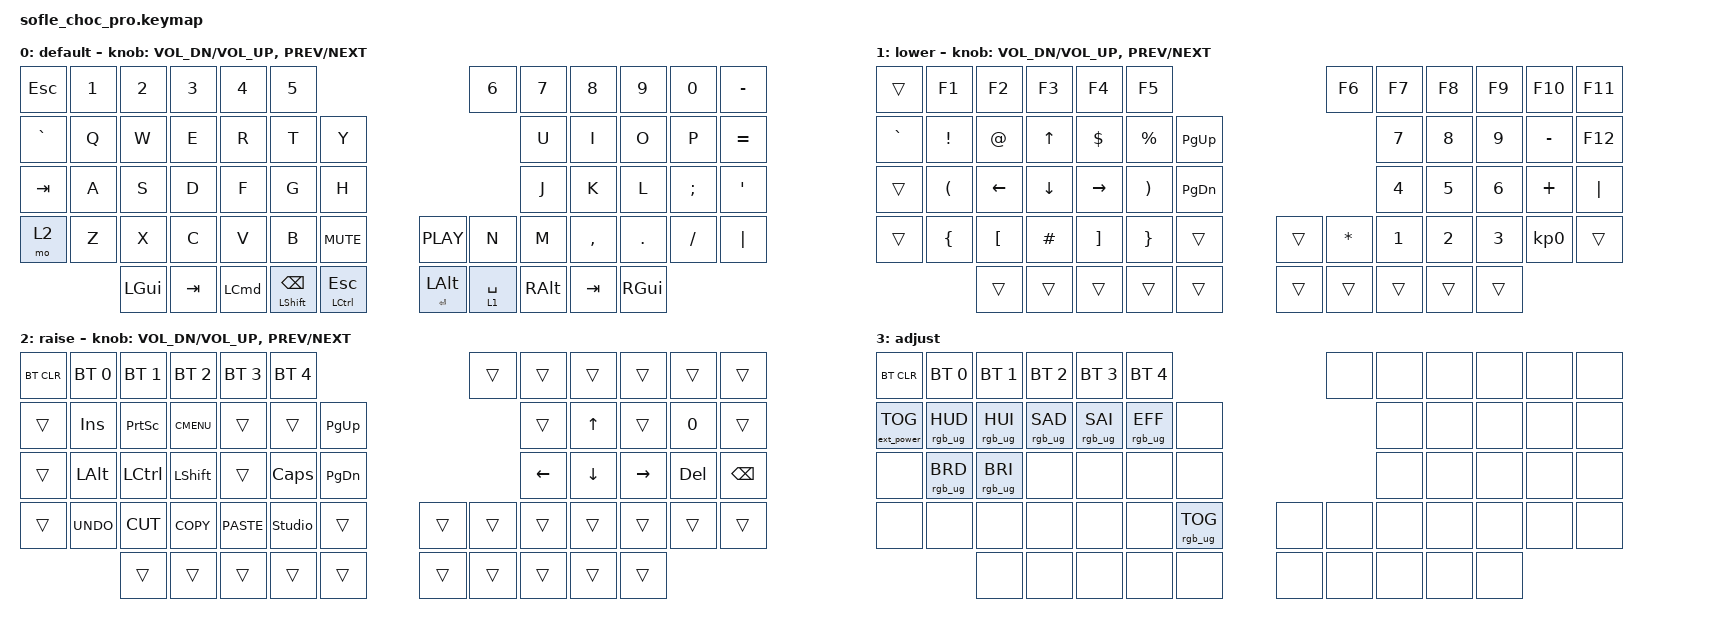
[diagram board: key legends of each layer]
/*
* Copyright (c) 2020 The ZMK Contributors
*
* SPDX-License-Identifier: MIT
*/

#include <behaviors.dtsi>
#include <dt-bindings/zmk/bt.h>
#include <dt-bindings/zmk/ext_power.h>
#include <dt-bindings/zmk/keys.h>
#include <dt-bindings/zmk/rgb.h>

#define BASE 0
#define LOWER 1
#define RAISE 2
#define ADJUST 3

/ {
    // Activate ADJUST layer by pressing raise and lower

    conditional_layers {
        compatible = "zmk,conditional-layers";

        adjust_layer {
            if-layers = <LOWER RAISE>;
            then-layer = <ADJUST>;
        };
    };

    keymap {
        compatible = "zmk,keymap";

        default_layer {
            display-name = "default";

            // ------------------------------------------------------------------------------------------------------------
            // |   `   |  1  |  2  |  3   |  4   |  5   |                   |  6   |  7    |  8    |  9   |   0   |   `   |
            // |  ESC  |  Q  |  W  |  E   |  R   |  T   |                   |  Y   |  U    |  I    |  O   |   P   | BKSPC |
            // |  TAB  |  A  |  S  |  D   |  F   |  G   |                   |  H   |  J    |  K    |  L   |   ;   |   '   |
            // | SHIFT |  Z  |  X  |  C   |  V   |  B   |  MUTE  |  | PLAY  |  N   |  M    |  ,    |  .   |   /   | SHIFT |
            //               | GUI | ALT  | CTRL | LOWER|  ENTER |  | SPACE | RAISE| CTRL  | ALT   | GUI  |

            bindings = <
&kp ESCAPE  &kp N1  &kp N2    &kp N3   &kp N4            &kp N5                                                                 &kp N6       &kp N7         &kp N8     &kp N9    &kp N0    &kp MINUS
&kp GRAVE   &kp Q   &kp W     &kp E    &kp R             &kp T                     &kp Y                                                     &kp U          &kp I      &kp O     &kp P     &kp EQUAL
&kp TAB     &kp A   &kp S     &kp D    &kp F             &kp G                     &kp H                                                     &kp J          &kp K      &kp L     &kp SEMI  &kp SQT
&mo 2       &kp Z   &kp X     &kp C    &kp V             &kp B                     &kp C_MUTE               &kp C_PLAY          &kp N        &kp M          &kp COMMA  &kp DOT   &kp FSLH  &kp PIPE
                    &kp LGUI  &kp TAB  &kp LEFT_COMMAND  &mt LEFT_SHIFT BACKSPACE  &mt LEFT_CONTROL ESCAPE  &mt ENTER LEFT_ALT  &lt 1 SPACE  &kp RIGHT_ALT  &kp TAB    &kp RGUI
            >;

            sensor-bindings = <&inc_dec_kp C_VOL_DN C_VOL_UP &inc_dec_kp C_PREV C_NEXT>;
        };

        lower_layer {
            display-name = "lower";

            // ------------------------------------------------------------------------------------------------------------
            // |       |  F1 |  F2 |  F3  |  F4  |  F5  |                   |  F6  |  F7   |  F8   |  F9  |  F10  |  F11  |
            // |   `   |  1  |  2  |  3   |  4   |  5   |                   |  6   |  7    |  8    |  9   |   0   |  F12  |
            // |       |  !  |  @  |  #   |  $   |  %   |                   |  ^   |  &    |  *    |  (   |   )   |   |   |
            // |       |  =  |  -  |  +   |  {   |  }   |        |  |       |  [   |  ]    |  ;    |  :   |   \   |       |
            //               |     |      |      |      |        |  |       |      |       |       |      |

            bindings = <
&trans     &kp F1                &kp F2            &kp F3          &kp F4             &kp F5                                        &kp F6    &kp F7        &kp F8        &kp F9        &kp F10          &kp F11
&kp GRAVE  &kp EXCL              &kp AT            &kp UP_ARROW    &kp DOLLAR         &kp PERCENT            &kp PAGE_UP                      &kp N7        &kp N8        &kp N9        &kp MINUS        &kp F12
&trans     &kp LEFT_PARENTHESIS  &kp LEFT          &kp DOWN_ARROW  &kp RIGHT          &kp RIGHT_PARENTHESIS  &kp PAGE_DOWN                    &kp NUMBER_4  &kp N5        &kp NUMBER_6  &kp PLUS         &kp PIPE
&trans     &kp LEFT_BRACE        &kp LEFT_BRACKET  &kp HASH        &kp RIGHT_BRACKET  &kp RBRC               &trans         &trans  &kp STAR  &kp NUMBER_1  &kp NUMBER_2  &kp NUMBER_3  &kp KP_NUMBER_0  &trans
                                 &trans            &trans          &trans             &trans                 &trans         &trans  &trans    &trans        &trans        &trans
            >;

            sensor-bindings = <&inc_dec_kp C_VOL_DN C_VOL_UP &inc_dec_kp C_PREV C_NEXT>;
        };

        raise_layer {
            display-name = "raise";

            // ------------------------------------------------------------------------------------------------------------
            // | BTCLR | BT1  | BT2  |  BT3  |  BT4  |  BT5 |                |      |      |       |      |       |       |
            // |       | INS  | PSCR | GUI   |       |      |                | PGUP |      |   ^   |      |       |       |
            // |       | ALT  | CTRL | SHIFT |       | CAPS |                | PGDN |   <- |   v   |  ->  |  DEL  | BKSPC |
            // |       | UNDO | CUT  | COPY  | PASTE |      |      |  |      |      |      |       |      |       |       |
            //                |      |       |       |      |      |  |      |      |      |       |      |

            bindings = <
&bt BT_CLR  &bt BT_SEL 0  &bt BT_SEL 1  &bt BT_SEL 2  &bt BT_SEL 3  &bt BT_SEL 4                       &trans  &trans    &trans    &trans     &trans   &trans
&trans      &kp INS       &kp PSCRN     &kp K_CMENU   &trans        &trans          &kp PG_UP                  &trans    &kp UP    &trans     &kp N0   &trans
&trans      &kp LALT      &kp LCTRL     &kp LSHFT     &trans        &kp CLCK        &kp PG_DN                  &kp LEFT  &kp DOWN  &kp RIGHT  &kp DEL  &kp BSPC
&trans      &kp K_UNDO    &kp K_CUT     &kp K_COPY    &kp K_PASTE   &studio_unlock  &trans     &trans  &trans  &trans    &trans    &trans     &trans   &trans
                          &trans        &trans        &trans        &trans          &trans     &trans  &trans  &trans    &trans    &trans
            >;

            sensor-bindings = <&inc_dec_kp C_VOL_DN C_VOL_UP &inc_dec_kp C_PREV C_NEXT>;
        };

        adjust_layer {
            // ----------------------------------------------------------------------------------------------------------------------------
            // | BTCLR  |  BT1    |  BT2    |   BT3   |   BT4   |   BT5   |                  |      |      |       |      |       |       |
            // | EXTPWR | RGB_HUD | RGB_HUI | RGB_SAD | RGB_SAI | RGB_EFF |                  |      |      |       |      |       |       |
            // |        | RGB_BRD | RGB_BRI |         |         |         |                  |      |      |       |      |       |       |
            // |        |         |         |         |         |         | RGB_TOG | |      |      |      |       |      |       |       |
            //                    |         |         |         |         |         | |      |      |      |       |      |

            display-name = "adjust";
            bindings = <
&bt BT_CLR         &bt BT_SEL 0     &bt BT_SEL 1     &bt BT_SEL 2     &bt BT_SEL 3     &bt BT_SEL 4                             &none  &none  &none  &none  &none  &none
&ext_power EP_TOG  &rgb_ug RGB_HUD  &rgb_ug RGB_HUI  &rgb_ug RGB_SAD  &rgb_ug RGB_SAI  &rgb_ug RGB_EFF  &none                          &none  &none  &none  &none  &none
&none              &rgb_ug RGB_BRD  &rgb_ug RGB_BRI  &none            &none            &none            &none                          &none  &none  &none  &none  &none
&none              &none            &none            &none            &none            &none            &rgb_ug RGB_TOG  &none  &none  &none  &none  &none  &none  &none
                                    &none            &none            &none            &none            &none            &none  &none  &none  &none  &none
            >;
        };
    };
};
